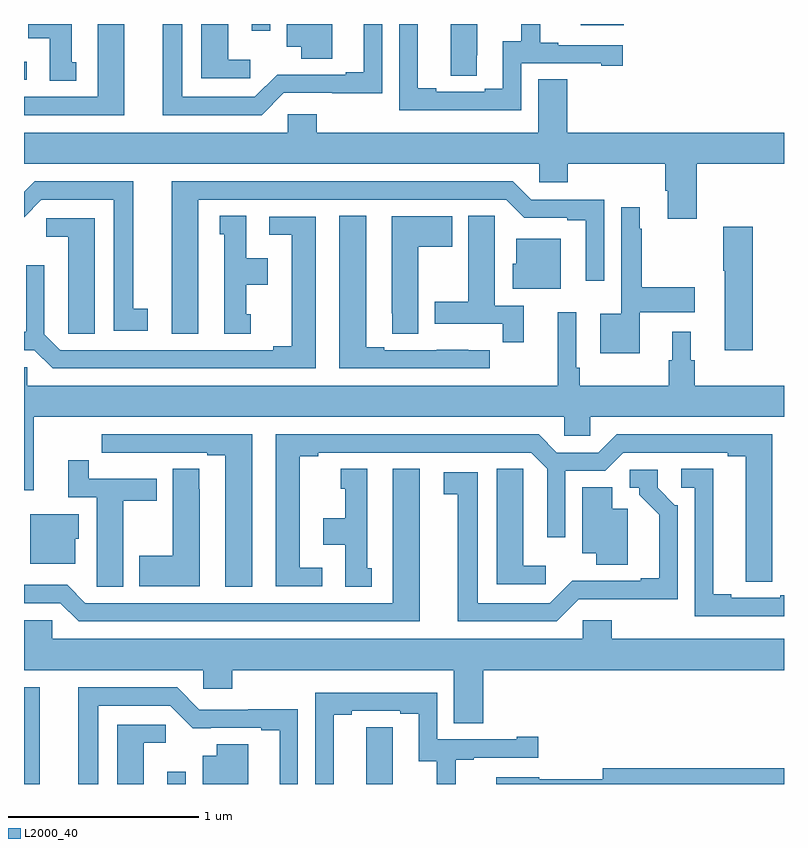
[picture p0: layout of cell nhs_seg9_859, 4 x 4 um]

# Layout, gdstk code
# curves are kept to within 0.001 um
import gdstk
lib = gdstk.Library(unit=1e-6, precision=1e-09)
def R(c, l, rs):  # rectangles x0, y0, x1, y1
    for r in rs: c.add(gdstk.rectangle(r[:2], r[2:], *l))
def P(c, l, *ps):  # polygons
    for p in ps: c.add(gdstk.Polygon(p, *l))
L2000_40 = (2000, 40)

nhs_seg9_859 = lib.new_cell('nhs_seg9_859')
R(nhs_seg9_859, L2000_40, [(157,1182.5,157.084,1183.008), (157.755,1182.5,157.851,1182.565), (157,1186.206,157.015,1186.302), (158.199,1186.464,158.295,1186.5), (159.929,1186.493,160.156,1186.5)])
P(nhs_seg9_859, L2000_40, [(157.276,1186.299),(157.252,1186.299),(157.252,1186.5),(157.022,1186.5),(157.022,1186.424),(157.136,1186.424),(157.136,1186.201),(157.276,1186.201)],
  [(157.528,1186.5),(157.388,1186.5),(157.388,1186.116),(157,1186.116),(157,1186.02),(157.528,1186.02)],
  [(158.367,1186.137),(158.886,1186.136),(158.886,1186.5),(158.789,1186.5),(158.789,1186.246),(158.693,1186.246),(158.693,1186.233),(158.332,1186.234),(158.214,1186.116),(157.834,1186.116),(157.834,1186.5),(157.73,1186.5),(157.73,1186.02),(158.25,1186.02)],
  [(159.618,1186.293),(160.037,1186.293),(160.037,1186.281),(160.15,1186.281),(160.15,1186.389),(159.811,1186.389),(159.811,1186.402),(159.716,1186.402),(159.716,1186.5),(159.616,1186.5),(159.616,1186.409),(159.521,1186.409),(159.521,1186.158),(159.425,1186.158),(159.425,1186.143),(159.169,1186.143),(159.169,1186.163),(159.073,1186.163),(159.073,1186.5),(158.976,1186.5),(158.976,1186.047),(159.618,1186.047)],
  [(158.191,1186.312),(158.074,1186.312),(158.074,1186.5),(157.934,1186.5),(157.934,1186.215),(158.191,1186.215)],
  [(159.384,1186.336),(159.385,1186.336),(159.385,1186.5),(159.245,1186.5),(159.245,1186.228),(159.384,1186.228)],
  [(158.623,1186.5),(158.384,1186.5),(158.384,1186.379),(158.459,1186.379),(158.459,1186.318),(158.623,1186.318)],
  [(160.541,1185.764),(161,1185.764),(161,1185.928),(159.86,1185.928),(159.86,1186.208),(159.707,1186.208),(159.707,1185.928),(158.54,1185.928),(158.54,1186.026),(158.388,1186.026),(158.388,1185.928),(157,1185.928),(157,1185.764),(159.711,1185.764),(159.711,1185.666),(159.863,1185.666),(159.863,1185.764),(160.376,1185.764),(160.376,1185.622),(160.388,1185.622),(160.388,1185.474),(160.541,1185.474)],
  [(157.651,1185.002),(157.576,1185.002),(157.576,1185.672),(157.056,1185.672),(157,1185.616),(157,1185.484),(157.092,1185.576),(157.472,1185.576),(157.472,1184.886),(157.651,1184.886)],
  [(157.918,1185.576),(159.537,1185.576),(159.633,1185.48),(159.86,1185.48),(159.86,1185.468),(159.956,1185.468),(159.956,1185.15),(160.053,1185.15),(160.053,1185.576),(159.669,1185.576),(159.573,1185.672),(157.778,1185.672),(157.778,1184.871),(157.918,1184.871)],
  [(160.24,1184.984),(160.531,1184.984),(160.531,1185.114),(160.252,1185.114),(160.252,1185.422),(160.24,1185.422),(160.24,1185.535),(160.143,1185.535),(160.143,1184.974),(160.034,1184.974),(160.034,1184.768),(160.24,1184.768)],
  [(159.451,1184.784),(159.338,1184.784),(159.338,1184.785),(159.172,1184.785),(159.172,1184.784),(158.896,1184.784),(158.896,1184.799),(158.8,1184.799),(158.8,1185.491),(158.66,1185.491),(158.66,1184.688),(159.451,1184.688)],
  [(159.629,1185.018),(159.478,1185.018),(159.478,1185.38),(159.477,1185.38),(159.477,1185.491),(159.338,1185.491),(159.338,1185.039),(159.161,1185.039),(159.161,1184.922),(159.52,1184.922),(159.52,1184.826),(159.629,1184.826)],
  [(158.194,1184.973),(158.17,1184.973),(158.17,1185.128),(158.284,1185.128),(158.284,1185.268),(158.17,1185.268),(158.17,1185.491),(158.03,1185.491),(158.03,1185.393),(158.054,1185.393),(158.054,1184.871),(158.194,1184.871)],
  [(159.076,1185.328),(159.253,1185.328),(159.253,1185.487),(158.936,1185.487),(158.936,1184.977),(158.937,1184.977),(158.937,1184.869),(159.076,1184.869)],
  [(158.536,1185.486),(158.292,1185.486),(158.292,1185.39),(158.408,1185.39),(158.408,1184.804),(158.312,1184.804),(158.312,1184.784),(157.191,1184.784),(157.107,1184.868),(157.107,1185.229),(157.011,1185.229),(157.011,1184.88),(157,1184.88),(157,1184.784),(157.055,1184.784),(157.151,1184.688),(158.536,1184.688)],
  [(157.372,1185.477),(157.116,1185.477),(157.116,1185.38),(157.232,1185.38),(157.232,1184.977),(157.233,1184.977),(157.233,1184.869),(157.372,1184.869)],
  [(160.835,1185.433),(160.681,1185.433),(160.681,1185.202),(160.688,1185.202),(160.688,1184.784),(160.835,1184.784)],
  [(159.826,1185.37),(159.59,1185.37),(159.59,1185.237),(159.572,1185.237),(159.572,1185.107),(159.826,1185.107)],
  [(159.981,1184.432),(161,1184.432),(161,1184.596),(160.529,1184.596),(160.529,1184.73),(160.51,1184.73),(160.51,1184.881),(160.412,1184.881),(160.412,1184.73),(160.393,1184.73),(160.393,1184.596),(159.926,1184.596),(159.926,1184.692),(159.906,1184.692),(159.906,1184.983),(159.809,1184.983),(159.809,1184.596),(157.017,1184.596),(157.017,1184.694),(157,1184.694),(157,1184.046),(157.052,1184.046),(157.052,1184.432),(159.843,1184.432),(159.843,1184.334),(159.981,1184.334)],
  [(158.569,1183.638),(158.452,1183.638),(158.452,1184.224),(158.548,1184.224),(158.548,1184.244),(159.669,1184.244),(159.753,1184.16),(159.753,1183.8),(159.849,1183.8),(159.849,1184.148),(160.059,1184.148),(160.155,1184.244),(160.703,1184.244),(160.703,1184.224),(160.799,1184.224),(160.799,1183.564),(160.938,1183.564),(160.939,1184.34),(160.119,1184.34),(160.023,1184.244),(159.805,1184.244),(159.709,1184.34),(158.324,1184.34),(158.324,1183.542),(158.569,1183.542)],
  [(158.2,1184.34),(157.41,1184.34),(157.41,1184.244),(157.522,1184.244),(157.522,1184.243),(157.688,1184.243),(157.688,1184.244),(157.964,1184.244),(157.964,1184.229),(158.06,1184.229),(158.06,1183.537),(158.2,1183.537)],
  [(157.522,1183.99),(157.699,1183.99),(157.699,1184.106),(157.34,1184.106),(157.34,1184.203),(157.232,1184.203),(157.232,1184.01),(157.382,1184.01),(157.382,1183.648),(157.383,1183.648),(157.383,1183.537),(157.522,1183.537)],
  [(159.745,1183.648),(159.628,1183.648),(159.628,1184.051),(159.627,1184.051),(159.627,1184.159),(159.488,1184.159),(159.488,1183.551),(159.745,1183.551)],
  [(157.924,1184.051),(157.923,1184.051),(157.923,1184.159),(157.784,1184.159),(157.784,1183.701),(157.607,1183.701),(157.607,1183.541),(157.924,1183.541)],
  [(161,1183.494),(160.979,1183.494),(160.979,1183.479),(160.723,1183.479),(160.723,1183.499),(160.627,1183.499),(160.627,1184.159),(160.458,1184.159),(160.458,1184.058),(160.53,1184.058),(160.53,1183.383),(161,1183.383)],
  [(159.082,1184.158),(158.942,1184.158),(158.942,1183.452),(157.323,1183.452),(157.227,1183.548),(157,1183.548),(157,1183.452),(157.191,1183.452),(157.287,1183.356),(159.082,1183.356)],
  [(158.83,1183.635),(158.806,1183.635),(158.806,1184.158),(158.666,1184.158),(158.666,1184.055),(158.69,1184.055),(158.69,1183.9),(158.576,1183.9),(158.576,1183.76),(158.69,1183.76),(158.69,1183.537),(158.83,1183.537)],
  [(159.921,1183.473),(160.44,1183.472),(160.44,1183.968),(160.425,1183.968),(160.335,1184.058),(160.335,1184.154),(160.188,1184.154),(160.188,1184.058),(160.238,1184.058),(160.238,1184.023),(160.343,1183.918),(160.343,1183.582),(160.247,1183.582),(160.247,1183.569),(159.886,1183.57),(159.768,1183.452),(159.388,1183.452),(159.388,1184.142),(159.21,1184.142),(159.21,1184.026),(159.284,1184.026),(159.284,1183.356),(159.804,1183.356)],
  [(160.177,1183.948),(160.096,1183.948),(160.096,1184.063),(159.938,1184.063),(159.938,1183.715),(160.013,1183.715),(160.013,1183.654),(160.177,1183.654)],
  [(157.27,1183.791),(157.288,1183.791),(157.288,1183.921),(157.034,1183.921),(157.034,1183.658),(157.27,1183.658)],
  [(159.416,1183.1),(161,1183.1),(161,1183.264),(160.094,1183.264),(160.094,1183.362),(159.942,1183.362),(159.942,1183.264),(157.149,1183.264),(157.149,1183.362),(157,1183.362),(157,1183.1),(157.944,1183.1),(157.944,1183.002),(158.096,1183.002),(158.096,1183.1),(159.263,1183.1),(159.263,1182.82),(159.416,1182.82)],
  [(157.39,1182.912),(157.77,1182.912),(157.888,1182.794),(158.249,1182.795),(158.249,1182.783),(158.345,1182.783),(158.345,1182.5),(158.442,1182.5),(158.442,1182.893),(158.179,1182.893),(158.179,1182.891),(157.923,1182.891),(157.806,1183.008),(157.286,1183.008),(157.286,1182.5),(157.39,1182.5)],
  [(158.629,1182.865),(158.725,1182.865),(158.725,1182.885),(158.981,1182.885),(158.981,1182.87),(159.077,1182.87),(159.077,1182.619),(159.172,1182.619),(159.172,1182.5),(159.272,1182.5),(159.272,1182.627),(159.367,1182.627),(159.367,1182.639),(159.706,1182.639),(159.706,1182.748),(159.593,1182.748),(159.593,1182.735),(159.174,1182.735),(159.174,1182.981),(158.532,1182.981),(158.532,1182.5),(158.629,1182.5)],
  [(157.63,1182.716),(157.747,1182.716),(157.747,1182.813),(157.49,1182.813),(157.49,1182.5),(157.63,1182.5)],
  [(158.941,1182.692),(158.94,1182.692),(158.94,1182.8),(158.801,1182.8),(158.801,1182.5),(158.941,1182.5)],
  [(158.179,1182.71),(158.015,1182.71),(158.015,1182.649),(157.94,1182.649),(157.94,1182.5),(158.179,1182.5)],
  [(161,1182.584),(160.047,1182.584),(160.047,1182.524),(159.712,1182.524),(159.712,1182.535),(159.485,1182.535),(159.485,1182.5),(161,1182.5)])

lib.write_gds('nhs_seg9_859.gds')
